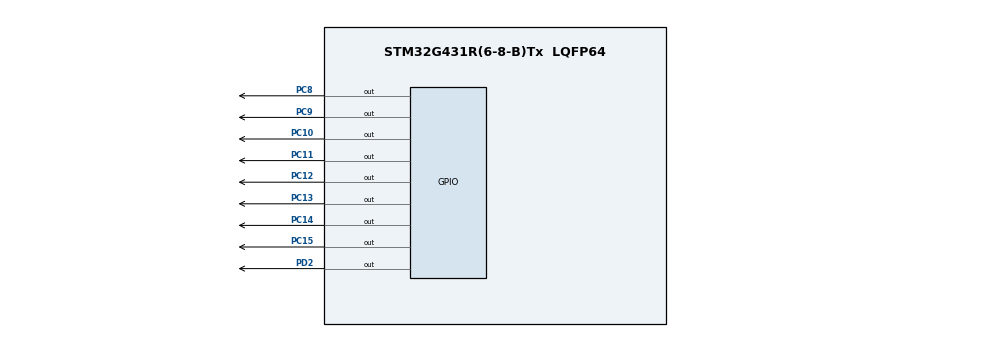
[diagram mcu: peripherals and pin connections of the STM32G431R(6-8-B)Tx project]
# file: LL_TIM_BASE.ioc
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Mcu.Family=STM32G4
Mcu.Name=STM32G431R(6-8-B)Tx
Mcu.Package=LQFP64
NVIC.PriorityGroup=NVIC_PRIORITYGROUP_4
NVIC.TIM1_UP_TIM16_IRQn=true\:0\:0\:false\:false\:true\:true\:true
PC10.Signal=GPIO_Output
PC11.Signal=GPIO_Output
PC12.Signal=GPIO_Output
PC13.Signal=GPIO_Output
PC14-OSC32_IN.Signal=GPIO_Output
PC15-OSC32_OUT.Signal=GPIO_Output
PC8.Signal=GPIO_Output
PC9.Signal=GPIO_Output
PD2.Signal=GPIO_Output
PF0-OSC_IN.Mode=HSE-External-Oscillator
PF0-OSC_IN.Signal=RCC_OSC_IN
PF1-OSC_OUT.Mode=HSE-External-Oscillator
PF1-OSC_OUT.Signal=RCC_OSC_OUT
ProjectManager.HeapSize=0x200
ProjectManager.StackSize=0x400
ProjectManager.TargetToolchain=MDK-ARM V5.27
RCC.ADC12Freq_Value=80000000
RCC.AHBFreq_Value=80000000
RCC.APB1Freq_Value=80000000
RCC.APB1TimFreq_Value=80000000
RCC.APB2Freq_Value=80000000
RCC.APB2TimFreq_Value=80000000
RCC.CortexFreq_Value=80000000
RCC.EXTERNAL_CLOCK_VALUE=12288000
RCC.HCLKFreq_Value=80000000
RCC.HSE_VALUE=24000000
RCC.HSI48_VALUE=48000000
RCC.HSI_VALUE=16000000
RCC.LSE_VALUE=32768
RCC.PLLM=RCC_PLLM_DIV2
RCC.PLLN=20
RCC.SYSCLKFreq_VALUE=80000000
RCC.SYSCLKSource=RCC_SYSCLKSOURCE_PLLCLK
RCC.USBFreq_Value=80000000
RCC.VCOOutputFreq_Value=160000000
VP_SYS_VS_DBSignals.Mode=DisableDeadBatterySignals
VP_TIM1_VS_ClockSourceINT.Mode=Internal
board=custom

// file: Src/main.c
/* USER CODE BEGIN Header */
/**
  ******************************************************************************
  * @file           : main.c
  * @brief          : Main program body
  ******************************************************************************
  * @attention
  *
  * <h2><center>&copy; Copyright (c) 2021 STMicroelectronics.
  * All rights reserved.</center></h2>
  *
  * This software component is licensed by ST under BSD 3-Clause license,
  * the "License"; You may not use this file except in compliance with the
  * License. You may obtain a copy of the License at:
  *                        opensource.org/licenses/BSD-3-Clause
  *
  ******************************************************************************
  */
/* USER CODE END Header */

#include "main.h"

void SystemClock_Config(void);
static void MX_GPIO_Init(void);
static void MX_TIM1_Init(void);

int main(void)
{

  /* MCU Configuration--------------------------------------------------------*/

  /* Reset of all peripherals, Initializes the Flash interface and the Systick. */

  LL_APB2_GRP1_EnableClock(LL_APB2_GRP1_PERIPH_SYSCFG);
  LL_APB1_GRP1_EnableClock(LL_APB1_GRP1_PERIPH_PWR);

  NVIC_SetPriorityGrouping(NVIC_PRIORITYGROUP_4);

  /* System interrupt init*/

  /** Disable the internal Pull-Up in Dead Battery pins of UCPD peripheral
  */
  LL_PWR_DisableDeadBatteryPD();

  /* Configure the system clock */
  SystemClock_Config();

  /* USER CODE BEGIN SysInit */
	LCD_Init();

	LCD_Clear(Blue);
	LCD_SetBackColor(Blue);
	LCD_SetTextColor(White);

	LCD_DisplayStringLine(Line0, (uint8_t *)"                    ");
	LCD_DisplayStringLine(Line1, (uint8_t *)"                    ");
	LCD_DisplayStringLine(Line2, (uint8_t *)"      TIM Test      ");
	LCD_DisplayStringLine(Line3, (uint8_t *)"                    ");
	LCD_DisplayStringLine(Line4, (uint8_t *)"                    ");

	LCD_SetBackColor(White);
	LCD_SetTextColor(Blue);

	LCD_DisplayStringLine(Line5, (uint8_t *)"                    ");
	LCD_DisplayStringLine(Line6, (uint8_t *)"     TIM1:100ms     ");
	LCD_DisplayStringLine(Line7, (uint8_t *)"                    ");
	LCD_DisplayStringLine(Line8, (uint8_t *)"                    ");
	LCD_DisplayStringLine(Line9, (uint8_t *)"                    ");
  /* USER CODE END SysInit */

  /* Initialize all configured peripherals */
  MX_GPIO_Init();
  MX_TIM1_Init();
  /* USER CODE BEGIN 2 */
	LL_TIM_EnableIT_UPDATE(TIM1);
  /* USER CODE END 2 */

  /* Infinite loop */
  while (1)
  {

  }
}

void SystemClock_Config(void)
{
  LL_FLASH_SetLatency(LL_FLASH_LATENCY_3);

   if(LL_FLASH_GetLatency() != LL_FLASH_LATENCY_3)
  {
    Error_Handler();
  }
  LL_PWR_SetRegulVoltageScaling(LL_PWR_REGU_VOLTAGE_SCALE1);
  LL_RCC_HSI_Enable();

   /* Wait till HSI is ready */
  while(LL_RCC_HSI_IsReady() != 1)
  {

  }
  LL_RCC_HSI_SetCalibTrimming(64);
  LL_RCC_PLL_ConfigDomain_SYS(LL_RCC_PLLSOURCE_HSI, LL_RCC_PLLM_DIV_2, 20, LL_RCC_PLLR_DIV_2);
  LL_RCC_PLL_EnableDomain_SYS();
  LL_RCC_PLL_Enable();

   /* Wait till PLL is ready */
  while(LL_RCC_PLL_IsReady() != 1)
  {

  }
  LL_RCC_SetSysClkSource(LL_RCC_SYS_CLKSOURCE_PLL);

   /* Wait till System clock is ready */
  while(LL_RCC_GetSysClkSource() != LL_RCC_SYS_CLKSOURCE_STATUS_PLL)
  {

  }
  /* Set AHB prescaler*/
  LL_RCC_SetAHBPrescaler(LL_RCC_SYSCLK_DIV_1);
  LL_RCC_SetAPB1Prescaler(LL_RCC_APB1_DIV_1);
  LL_RCC_SetAPB2Prescaler(LL_RCC_APB1_DIV_1);

  LL_Init1msTick(80000000);
//	LL_SYSTICK_EnableIT();

  LL_SetSystemCoreClock(80000000);
}

static void MX_TIM1_Init(void)
{

  LL_TIM_InitTypeDef TIM_InitStruct = {0};

  /* Peripheral clock enable */
  LL_APB2_GRP1_EnableClock(LL_APB2_GRP1_PERIPH_TIM1);

  /* TIM1 interrupt Init */
  NVIC_SetPriority(TIM1_UP_TIM16_IRQn, NVIC_EncodePriority(NVIC_GetPriorityGrouping(),0, 0));
  NVIC_EnableIRQ(TIM1_UP_TIM16_IRQn);

  TIM_InitStruct.Prescaler = 1000;
  TIM_InitStruct.CounterMode = LL_TIM_COUNTERMODE_UP;
  TIM_InitStruct.Autoreload = 79;
  TIM_InitStruct.ClockDivision = LL_TIM_CLOCKDIVISION_DIV1;
  TIM_InitStruct.RepetitionCounter = 0;
  LL_TIM_Init(TIM1, &TIM_InitStruct);
  LL_TIM_EnableARRPreload(TIM1);
  LL_TIM_SetClockSource(TIM1, LL_TIM_CLOCKSOURCE_INTERNAL);

  /* USER CODE BEGIN TIM1_Init 2 */
	LL_TIM_EnableCounter(TIM1);
  /* USER CODE END TIM1_Init 2 */

}

static void MX_GPIO_Init(void)
{
  LL_GPIO_InitTypeDef GPIO_InitStruct = {0};

  /* GPIO Ports Clock Enable */
  LL_AHB2_GRP1_EnableClock(LL_AHB2_GRP1_PERIPH_GPIOC);
  LL_AHB2_GRP1_EnableClock(LL_AHB2_GRP1_PERIPH_GPIOF);
  LL_AHB2_GRP1_EnableClock(LL_AHB2_GRP1_PERIPH_GPIOD);

  /**/
  LL_GPIO_ResetOutputPin(GPIOC, LL_GPIO_PIN_13);

  /**/
  LL_GPIO_ResetOutputPin(GPIOC, LL_GPIO_PIN_14);

  /**/
  LL_GPIO_ResetOutputPin(GPIOC, LL_GPIO_PIN_15);

  /**/
  LL_GPIO_ResetOutputPin(GPIOC, LL_GPIO_PIN_8);

  /**/
  LL_GPIO_ResetOutputPin(GPIOC, LL_GPIO_PIN_9);

  /**/
  LL_GPIO_ResetOutputPin(GPIOC, LL_GPIO_PIN_10);

  /**/
  LL_GPIO_ResetOutputPin(GPIOC, LL_GPIO_PIN_11);

  /**/
  LL_GPIO_ResetOutputPin(GPIOC, LL_GPIO_PIN_12);

  /**/
  LL_GPIO_ResetOutputPin(GPIOD, LL_GPIO_PIN_2);

  /**/
  GPIO_InitStruct.Pin = LL_GPIO_PIN_13;
  GPIO_InitStruct.Mode = LL_GPIO_MODE_OUTPUT;
  GPIO_InitStruct.Speed = LL_GPIO_SPEED_FREQ_LOW;
  GPIO_InitStruct.OutputType = LL_GPIO_OUTPUT_PUSHPULL;
  GPIO_InitStruct.Pull = LL_GPIO_PULL_NO;
  LL_GPIO_Init(GPIOC, &GPIO_InitStruct);

  /**/
  GPIO_InitStruct.Pin = LL_GPIO_PIN_14;
  GPIO_InitStruct.Mode = LL_GPIO_MODE_OUTPUT;
  GPIO_InitStruct.Speed = LL_GPIO_SPEED_FREQ_LOW;
  GPIO_InitStruct.OutputType = LL_GPIO_OUTPUT_PUSHPULL;
  GPIO_InitStruct.Pull = LL_GPIO_PULL_NO;
  LL_GPIO_Init(GPIOC, &GPIO_InitStruct);

  /**/
  GPIO_InitStruct.Pin = LL_GPIO_PIN_15;
  GPIO_InitStruct.Mode = LL_GPIO_MODE_OUTPUT;
  GPIO_InitStruct.Speed = LL_GPIO_SPEED_FREQ_LOW;
  GPIO_InitStruct.OutputType = LL_GPIO_OUTPUT_PUSHPULL;
  GPIO_InitStruct.Pull = LL_GPIO_PULL_NO;
  LL_GPIO_Init(GPIOC, &GPIO_InitStruct);

  /**/
  GPIO_InitStruct.Pin = LL_GPIO_PIN_8;
  GPIO_InitStruct.Mode = LL_GPIO_MODE_OUTPUT;
  GPIO_InitStruct.Speed = LL_GPIO_SPEED_FREQ_LOW;
  GPIO_InitStruct.OutputType = LL_GPIO_OUTPUT_PUSHPULL;
  GPIO_InitStruct.Pull = LL_GPIO_PULL_NO;
  LL_GPIO_Init(GPIOC, &GPIO_InitStruct);

  /**/
  GPIO_InitStruct.Pin = LL_GPIO_PIN_9;
  GPIO_InitStruct.Mode = LL_GPIO_MODE_OUTPUT;
  GPIO_InitStruct.Speed = LL_GPIO_SPEED_FREQ_LOW;
  GPIO_InitStruct.OutputType = LL_GPIO_OUTPUT_PUSHPULL;
  GPIO_InitStruct.Pull = LL_GPIO_PULL_NO;
  LL_GPIO_Init(GPIOC, &GPIO_InitStruct);

  /**/
  GPIO_InitStruct.Pin = LL_GPIO_PIN_10;
  GPIO_InitStruct.Mode = LL_GPIO_MODE_OUTPUT;
  GPIO_InitStruct.Speed = LL_GPIO_SPEED_FREQ_LOW;
  GPIO_InitStruct.OutputType = LL_GPIO_OUTPUT_PUSHPULL;
  GPIO_InitStruct.Pull = LL_GPIO_PULL_NO;
  LL_GPIO_Init(GPIOC, &GPIO_InitStruct);

  /**/
  GPIO_InitStruct.Pin = LL_GPIO_PIN_11;
  GPIO_InitStruct.Mode = LL_GPIO_MODE_OUTPUT;
  GPIO_InitStruct.Speed = LL_GPIO_SPEED_FREQ_LOW;
  GPIO_InitStruct.OutputType = LL_GPIO_OUTPUT_PUSHPULL;
  GPIO_InitStruct.Pull = LL_GPIO_PULL_NO;
  LL_GPIO_Init(GPIOC, &GPIO_InitStruct);

  /**/
  GPIO_InitStruct.Pin = LL_GPIO_PIN_12;
  GPIO_InitStruct.Mode = LL_GPIO_MODE_OUTPUT;
  GPIO_InitStruct.Speed = LL_GPIO_SPEED_FREQ_LOW;
  GPIO_InitStruct.OutputType = LL_GPIO_OUTPUT_PUSHPULL;
  GPIO_InitStruct.Pull = LL_GPIO_PULL_NO;
  LL_GPIO_Init(GPIOC, &GPIO_InitStruct);

  /**/
  GPIO_InitStruct.Pin = LL_GPIO_PIN_2;
  GPIO_InitStruct.Mode = LL_GPIO_MODE_OUTPUT;
  GPIO_InitStruct.Speed = LL_GPIO_SPEED_FREQ_LOW;
  GPIO_InitStruct.OutputType = LL_GPIO_OUTPUT_PUSHPULL;
  GPIO_InitStruct.Pull = LL_GPIO_PULL_NO;
  LL_GPIO_Init(GPIOD, &GPIO_InitStruct);

}

void Error_Handler(void)
{
}

/************************ (C) COPYRIGHT STMicroelectronics *****END OF FILE****/
